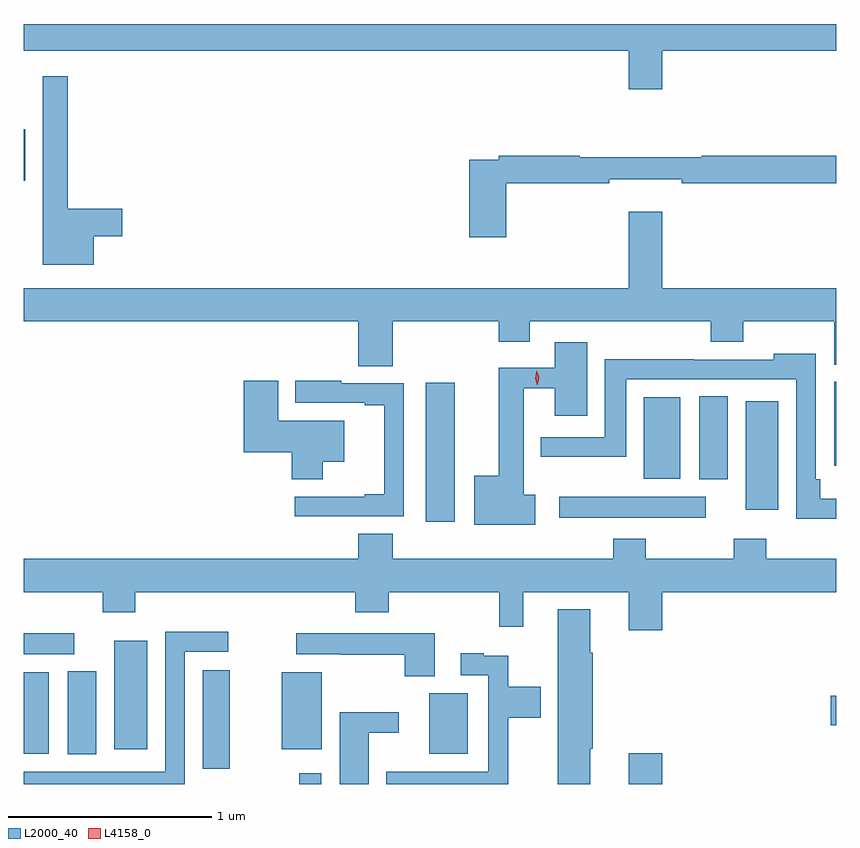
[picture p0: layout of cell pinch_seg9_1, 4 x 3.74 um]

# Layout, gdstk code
import gdstk
lib = gdstk.Library(unit=1e-6, precision=1e-09)
def R(c, l, rs):  # rectangles x0, y0, x1, y1
    for r in rs: c.add(gdstk.rectangle(r[:2], r[2:], *l))
def P(c, l, *ps):  # polygons
    for p in ps: c.add(gdstk.Polygon(p, *l))
L2000_40 = (2000, 40)
L4158_0 = (4158, 0)

pinch_seg9_1 = lib.new_cell('pinch_seg9_1')
R(pinch_seg9_1, L2000_40, [(1074.474,1244.759,1074.582,1244.812), (1076.096,1244.759,1076.26,1244.911), (1073.999,1244.833,1074.133,1245.319), (1073.336,1244.905,1073.476,1245.313), (1073.118,1244.909,1073.242,1245.31), (1075.115,1244.909,1075.303,1245.205), (1074.389,1244.93,1074.586,1245.31), (1073.564,1244.931,1073.725,1245.463), (1077.09,1245.047,1077.118,1245.194), (1073.118,1245.398,1073.368,1245.502), (1075.097,1246.05,1075.24,1246.735), (1075.755,1246.07,1076.476,1246.174), (1076.672,1246.11,1076.833,1246.642), (1076.444,1246.259,1076.584,1246.667), (1076.171,1246.262,1076.35,1246.663), (1077.107,1246.326,1077.118,1246.738), (1073.118,1247.729,1073.125,1247.983)])
P(pinch_seg9_1, L2000_40, [(1076.26,1248.368),(1077.118,1248.368),(1077.118,1248.5),(1073.118,1248.5),(1073.118,1248.368),(1076.096,1248.368),(1076.096,1248.18),(1076.26,1248.18)],
  [(1073.464,1247.456),(1073.602,1247.456),(1073.602,1247.591),(1073.335,1247.591),(1073.335,1248.244),(1073.213,1248.244),(1073.213,1247.315),(1073.464,1247.315)],
  [(1075.493,1247.716),(1076,1247.716),(1076,1247.735),(1076.356,1247.735),(1076.356,1247.716),(1077.118,1247.716),(1077.118,1247.852),(1076.456,1247.852),(1076.456,1247.845),(1075.856,1247.845),(1075.856,1247.852),(1075.456,1247.852),(1075.456,1247.832),(1075.31,1247.832),(1075.31,1247.451),(1075.493,1247.451)],
  [(1074.935,1247.036),(1075.457,1247.036),(1075.457,1246.937),(1075.609,1246.937),(1075.609,1247.036),(1076.501,1247.036),(1076.501,1246.937),(1076.661,1246.937),(1076.661,1247.036),(1077.107,1247.036),(1077.107,1246.823),(1077.118,1246.823),(1077.118,1247.2),(1076.26,1247.2),(1076.26,1247.575),(1076.096,1247.575),(1076.096,1247.2),(1073.118,1247.2),(1073.118,1247.036),(1074.764,1247.036),(1074.764,1246.816),(1074.935,1246.816)],
  [(1075.636,1246.184),(1075.579,1246.184),(1075.579,1246.708),(1075.733,1246.708),(1075.733,1246.572),(1075.891,1246.572),(1075.891,1246.933),(1075.733,1246.933),(1075.733,1246.807),(1075.457,1246.807),(1075.457,1246.276),(1075.337,1246.276),(1075.337,1246.034),(1075.636,1246.034)],
  [(1077.118,1246.162),(1077.038,1246.162),(1077.038,1246.258),(1077.018,1246.258),(1077.018,1246.876),(1076.811,1246.876),(1076.811,1246.848),(1076.417,1246.848),(1076.417,1246.85),(1075.979,1246.85),(1075.979,1246.467),(1075.664,1246.467),(1075.664,1246.37),(1076.083,1246.37),(1076.083,1246.752),(1076.922,1246.752),(1076.922,1246.064),(1077.118,1246.064)],
  [(1074.591,1246.346),(1074.697,1246.346),(1074.697,1246.546),(1074.37,1246.546),(1074.37,1246.744),(1074.2,1246.744),(1074.2,1246.391),(1074.437,1246.391),(1074.437,1246.258),(1074.591,1246.258)],
  [(1074.68,1246.077),(1074.99,1246.077),(1074.99,1246.731),(1074.68,1246.731),(1074.68,1246.744),(1074.455,1246.744),(1074.455,1246.635),(1074.797,1246.635),(1074.797,1246.623),(1074.893,1246.623),(1074.893,1246.186),(1074.797,1246.186),(1074.797,1246.173),(1074.453,1246.173),(1074.453,1246.076),(1074.68,1246.076)],
  [(1074.764,1245.992),(1074.764,1245.868),(1073.118,1245.868),(1073.118,1245.704),(1073.506,1245.704),(1073.506,1245.605),(1073.666,1245.605),(1073.666,1245.704),(1074.749,1245.704),(1074.749,1245.605),(1074.914,1245.605),(1074.914,1245.704),(1075.459,1245.704),(1075.459,1245.534),(1075.576,1245.534),(1075.576,1245.704),(1076.096,1245.704),(1076.096,1245.516),(1076.26,1245.516),(1076.26,1245.704),(1077.118,1245.704),(1077.118,1245.868),(1076.774,1245.868),(1076.774,1245.967),(1076.614,1245.967),(1076.614,1245.868),(1076.181,1245.868),(1076.181,1245.967),(1076.021,1245.967),(1076.021,1245.868),(1074.935,1245.868),(1074.935,1245.992)],
  [(1075.906,1244.933),(1075.919,1244.933),(1075.919,1245.406),(1075.906,1245.406),(1075.906,1245.619),(1075.748,1245.619),(1075.748,1244.759),(1075.906,1244.759)],
  [(1073.91,1245.411),(1074.124,1245.411),(1074.124,1245.509),(1073.814,1245.509),(1073.814,1244.82),(1073.118,1244.82),(1073.118,1244.759),(1073.91,1244.759)],
  [(1075.141,1245.502),(1074.459,1245.502),(1074.459,1245.398),(1074.682,1245.398),(1074.682,1245.396),(1074.994,1245.396),(1074.994,1245.29),(1075.141,1245.29)],
  [(1075.503,1245.086),(1075.663,1245.086),(1075.663,1245.238),(1075.503,1245.238),(1075.503,1245.391),(1075.382,1245.391),(1075.382,1245.403),(1075.269,1245.403),(1075.269,1245.294),(1075.404,1245.294),(1075.404,1244.82),(1074.903,1244.82),(1074.903,1244.759),(1075.503,1244.759)],
  [(1074.817,1245.011),(1074.964,1245.011),(1074.964,1245.113),(1074.674,1245.113),(1074.674,1244.759),(1074.817,1244.759)])
P(pinch_seg9_1, L4158_0, [(1075.646,1246.722),(1075.646,1246.722),(1075.635,1246.757),(1075.644,1246.793),(1075.644,1246.793),(1075.644,1246.793),(1075.655,1246.758),(1075.646,1246.722)])

lib.write_gds('pinch_seg9_1.gds')
